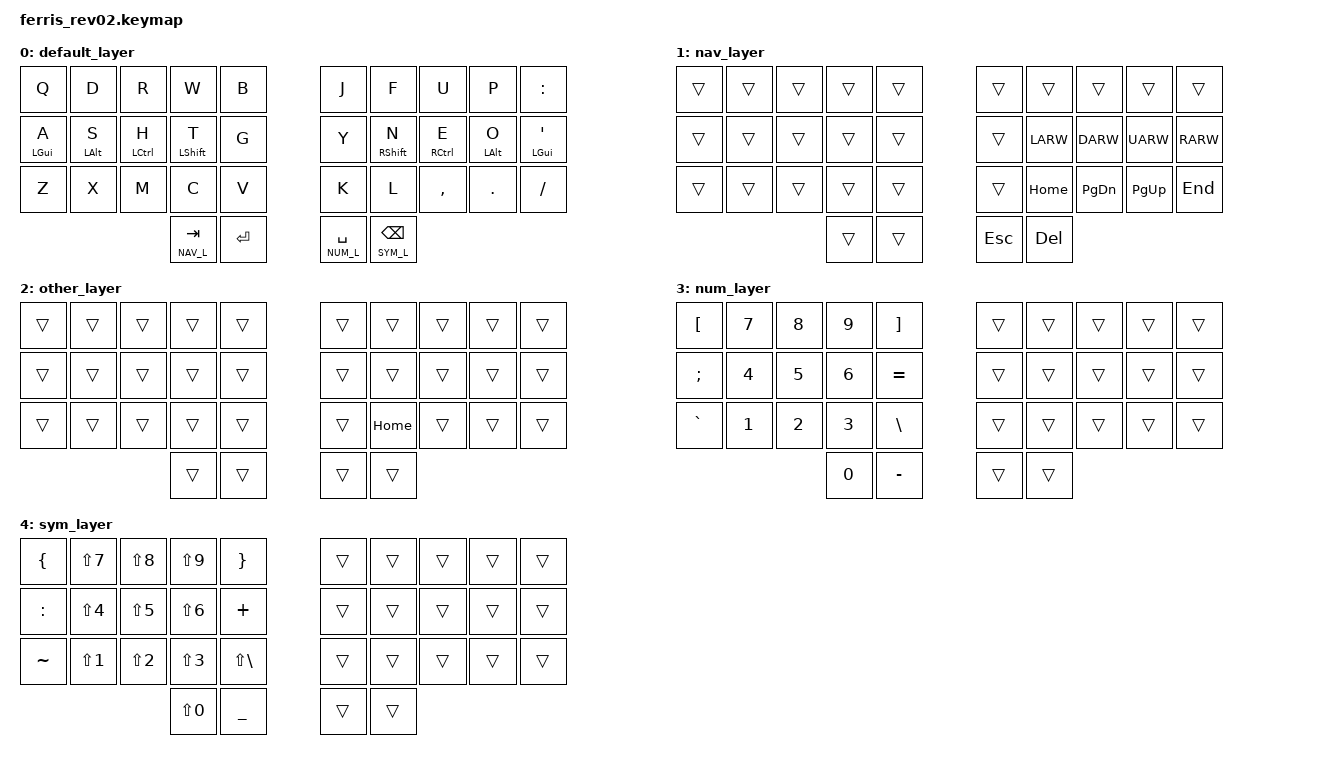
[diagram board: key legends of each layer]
/*
 * Copyright (c) 2020 The ZMK Contributors
 *
 * SPDX-License-Identifier: MIT
 */

#include <behaviors.dtsi>
#include <dt-bindings/zmk/keys.h>
#include <dt-bindings/zmk/bt.h>
#include <dt-bindings/zmk/mouse.h>

#define NAV_L 1
#define OTHER_L 2
#define NUM_L 3
#define SYM_L 4

// Using layer taps on thumbs, having quick tap as well helps w/ repeating space/backspace
&lt { quick_tap_ms = <200>; };
&mt {
    flavor = "tap-preferred";
    tapping_term_ms = <200>;
};

/ {
    behaviors {
        hm: homerow_mods {
            compatible = "zmk,behavior-hold-tap";
            label = "homerow mods";
            #binding-cells = <2>;
            tapping_term_ms = <200>;
            quick_tap_ms = <0>;
            flavor = "tap-preferred";
            bindings = <&kp>, <&kp>;
        };
        hs: homerow_shifts {
            compatible = "zmk,behavior-hold-tap";
            label = "HOMEROW_SHIFTS";
            #binding-cells = <2>;
            tapping-term-ms = <150>;
            quick_tap_ms = <0>;
            flavor = "balanced";
            bindings = <&kp>, <&kp>;
        };
        hsl: homerow_shifts_layer {
            compatible = "zmk,behavior-hold-tap";
            label = "HOMEROW_SHIFTS_LAYER";
            #binding-cells = <2>;
            tapping-term-ms = <150>;
            quick_tap_ms = <0>;
            flavor = "balanced";
            bindings = <&kp>, <&to>;
        };
    td: tapdance {
            compatible = "zmk,behavior-hold-tap";
            label = "TAPDANCE";
            #binding-cells = <2>;
            tapping-term-ms = <150>;
            quick_tap_ms = <0>;
            flavor = "tap-preferred";
            bindings = <&kp>, <&kp>;
        };
	bl: layertap {
            compatible = "zmk,behavior-hold-tap";
            label = "LAYERTAP";
            #binding-cells = <2>;
            tapping-term-ms = <150>;
            quick_tap_ms = <0>;
            flavor = "tap-preferred";
            bindings = <&to>, <&kp>;
        };
    };

    keymap {
        compatible = "zmk,keymap";

        default_layer {
            bindings = <
                &kp Q      &kp D      &kp R       &kp W          &kp B         &kp J            &kp F          &kp U       &kp P      &kp :
                &hm LGUI A &hm LALT S &hm LCTRL H &hm LSHFT T    &kp G         &kp Y            &hm RSHFT N    &hm RCTRL E &hm LALT O &hm LGUI QUOT
                &kp Z      &kp X      &kp M       &kp C          &kp V         &kp K            &kp L          &kp COMMA   &kp DOT    &kp FSLH
                                                  &lt NAV_L TAB  &kp ENTER     &lt NUM_L SPACE  &lt SYM_L BKSP
            >;
        };

        nav_layer {
            bindings = <
                &trans     &trans     &trans      &trans          &trans       &trans           &trans         &trans      &trans     &trans
                &trans     &trans     &trans      &trans          &trans       &trans           &kp LARW       &kp DARW    &kp UARW   &kp RARW
                &trans     &trans     &trans      &trans          &trans       &trans           &kp HOME       &kp PG_DN   &kp PG_UP  &kp END
                                                  &trans          &trans       &kp ESC          &kp DEL
            >;
        };

        other_layer {
            bindings = <
                &trans     &trans     &trans      &trans          &trans       &trans           &trans         &trans      &trans     &trans
                &trans     &trans     &trans      &trans          &trans       &trans           &trans         &trans      &trans     &trans
                &trans     &trans     &trans      &trans          &trans       &trans           &kp HOME       &trans      &trans     &trans
                                                  &trans          &trans       &trans           &trans
            >;
        };

        num_layer {
            bindings = <
                &kp LBKT   &kp N7     &kp N8      &kp N9          &kp RBKT      &trans          &trans         &trans      &trans     &trans
                &kp SEMI   &kp N4     &kp N5      &kp N6          &kp EQUAL     &trans          &trans         &trans      &trans     &trans
                &kp GRAVE  &kp N1     &kp N2      &kp N3          &kp BSLH      &trans          &trans         &trans      &trans     &trans
                                                  &kp N0          &kp MINUS     &trans          &trans
            >;
        };

        sym_layer {
            bindings = <
                &kp LBRC     &kp LS(N7)  &kp LS(N8)  &kp LS(N9) &kp RBRC       &trans &trans   &trans    &trans    &trans
                &kp COLON     &kp LS(N4)  &kp LS(N5)  &kp LS(N6) &kp PLUS       &trans &trans   &trans    &trans    &trans
                &kp TILDE     &kp LS(N1)  &kp LS(N2)  &kp LS(N3) &kp LS(BSLH)       &trans &trans   &trans    &trans    &trans
                                                   &kp LS(N0) &kp UNDER   &trans &trans
            >;
        };
    };
};
